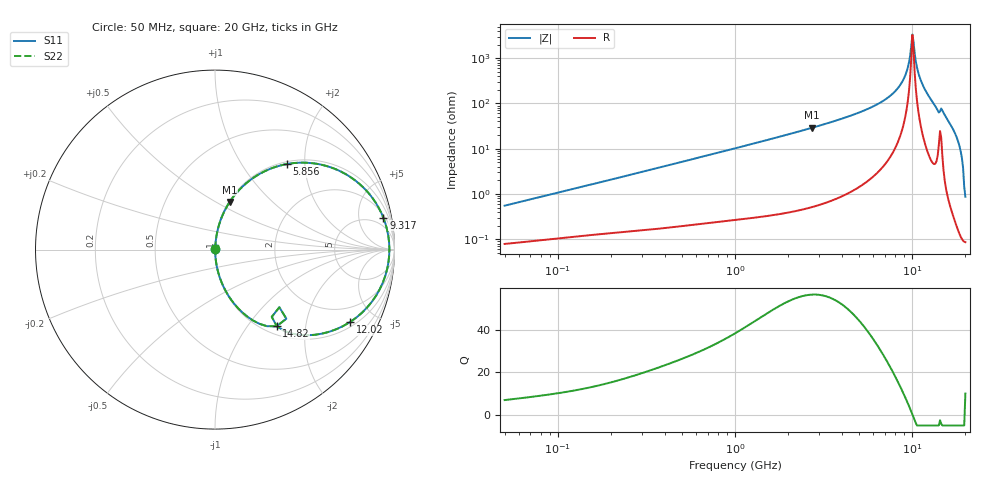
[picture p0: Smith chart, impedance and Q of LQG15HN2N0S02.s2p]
!Murata Part Number: LQG15HN2N0S02
!These Parameters are Measured in Series Mode Connection
!  o--[Z]--o
!Port1  Port2
!  o-------o
!Freq. Start=50[MHz] Stop=20[GHz], 401[Steps]
# Hz S RI R 50
!Freq.(Hz) S11(Real) S11(Imag) S21(Real) S21(Imag) S12(Real) S12(Imag) S22(Real) S22(Imag)
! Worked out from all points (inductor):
!   401 points, 50 MHz to 20 GHz, reference 50 ohm
!   read as one part in series: L = 1.72 nH near 51.52 MHz
!   highest Q = 56.5 at 2.728 GHz (marker M1), where L = 1.69 nH
!   self-resonance near 10.04 GHz
!   S11 on the Smith chart (normalised r, x): 50 MHz: 1.00, +0.01; 5.856 GHz: 1.04, +1.63; 9.317 GHz: 2, +10; 12.02 GHz: 1.21, -3.60; 14.82 GHz: 1.14, -1.39; 20 GHz: 1.00, +0.02
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5e7  0.000816 0.00544  0.9992 -0.00544  0.9992 -0.00544  0.000816 0.00544
1.364002e8  0.00139 0.0143  0.9986 -0.0143  0.9986 -0.0143  0.00139 0.0143
3.721004e8  0.00315 0.038  0.9968 -0.038  0.9968 -0.038  0.00315 0.038
1e9  0.0128 0.1002  0.9872 -0.1002  0.9872 -0.1002  0.0128 0.1002
2.728004e9  0.0817 0.2652  0.9183 -0.2652  0.9183 -0.2652  0.0817 0.2652
4.212059e9  0.1986 0.3892  0.8014 -0.3892  0.8014 -0.3892  0.1986 0.3892
5.856089e9  0.4012 0.4769  0.5988 -0.4769  0.5988 -0.4769  0.4012 0.4769
7.442007e9  0.6629 0.4516  0.3371 -0.4516  0.3371 -0.4516  0.6629 0.4516
8.516016e9  0.8415 0.3307  0.1585 -0.3307  0.1585 -0.3307  0.8415 0.3307
9.316812e9  0.938 0.1778  0.062 -0.1778  0.062 -0.1778  0.938 0.1778
9.892087e9  0.9698 0.0432  0.0302 -0.0432  0.0302 -0.0432  0.9698 0.0432
1.004137e10  0.9716 0.00642  0.0284 -0.00642  0.0284 -0.00642  0.9716 0.00642
1.034674e10  0.9666 -0.0692  0.0334 0.0692  0.0334 0.0692  0.9666 -0.0692
1.066139e10  0.949 -0.1458  0.051 0.1458  0.051 0.1458  0.949 -0.1458
1.098561e10  0.9182 -0.2204  0.0818 0.2204  0.0818 0.2204  0.9182 -0.2204
1.201863e10  0.752 -0.4039  0.248 0.4039  0.248 0.4039  0.752 -0.4039
1.375312e10  0.385 -0.4532  0.615 0.4532  0.615 0.4532  0.385 -0.4532
1.482269e10  0.3427 -0.4273  0.6573 0.4273  0.6573 0.4273  0.3427 -0.4273
1.670968e10  0.091 -0.2809  0.909 0.2809  0.909 0.2809  0.091 -0.2809
1.828096e10  0.0196 -0.1334  0.9804 0.1334  0.9804 0.1334  0.0196 -0.1334
1.88369e10  0.00839 -0.0849  0.9916 0.0849  0.9916 0.0849  0.00839 -0.0849
2e10  0.000934 0.00862  0.9991 -0.00862  0.9991 -0.00862  0.000934 0.00862
